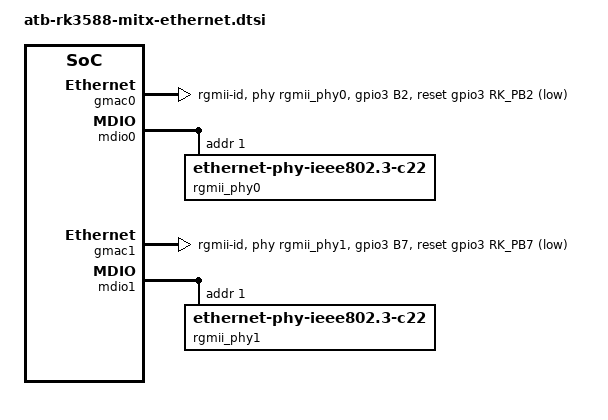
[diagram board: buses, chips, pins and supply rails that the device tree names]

//D14   //GMAC0 PHY //RTL8211FI
&gmac0 {
	status = "okay";
	// Use rgmii-id mode, use both delays
	phy-mode = "rgmii-id";
	clock_in_out = "input";

	// PHY hardware reset, active low
	snps,reset-gpio = <&gpio3 RK_PB2 GPIO_ACTIVE_LOW>;
	snps,reset-active-low;

	// Reset time is 20ms, 100ms for rtl8211f
	snps,reset-delays-us = <0 20000 100000>;

	pinctrl-names = "default";
	pinctrl-0 = <&gmac0_miim
			&gmac0_tx_bus2
			&gmac0_rx_bus2
			&gmac0_rgmii_clk
			&gmac0_rgmii_bus
			&gmac0_clkinout
			&rgmii_phy0_reset_pin>;

	tx_delay = <0x25>;
	rx_delay = <0x25>; 

	phy-handle = <&rgmii_phy0>;
};

&mdio0 {
	rgmii_phy0: phy@1 {
		compatible = "ethernet-phy-ieee802.3-c22";
		reg = <0x1>;
	};
};

//D15   //GMAC1 PHY //RTL8211FI
&gmac1 {
	status = "okay";
	// Use rgmii-id mode, use both delays
	phy-mode = "rgmii-id";
	clock_in_out = "input";

	// PHY hardware reset, active low
	snps,reset-gpio = <&gpio3 RK_PB7 GPIO_ACTIVE_LOW>;
	snps,reset-active-low;

	// Reset time is 20ms, 100ms for rtl8211f
	snps,reset-delays-us = <0 20000 100000>;

	pinctrl-names = "default";
	pinctrl-0 = <&gmac1_miim
			&gmac1_tx_bus2
			&gmac1_rx_bus2
			&gmac1_rgmii_clk
			&gmac1_rgmii_bus
			&gmac1_clkinout
			&rgmii_phy1_reset_pin>;

	tx_delay = <0x25>;
	rx_delay = <0x25>; 

	phy-handle = <&rgmii_phy1>;
};

&mdio1 {
	rgmii_phy1: phy@1 {
		compatible = "ethernet-phy-ieee802.3-c22";
		reg = <0x1>;
	};
};

&pinctrl {
	ethernet {
		rgmii_phy0_reset_pin: rgmii-phy0-reset-pin {
			rockchip,pins = <3 RK_PB2 RK_FUNC_GPIO &pcfg_pull_none>;
		};
		rgmii_phy1_reset_pin: rgmii-phy1-reset-pin {
			rockchip,pins = <3 RK_PB7 RK_FUNC_GPIO &pcfg_pull_none>;
		};
	};
};
